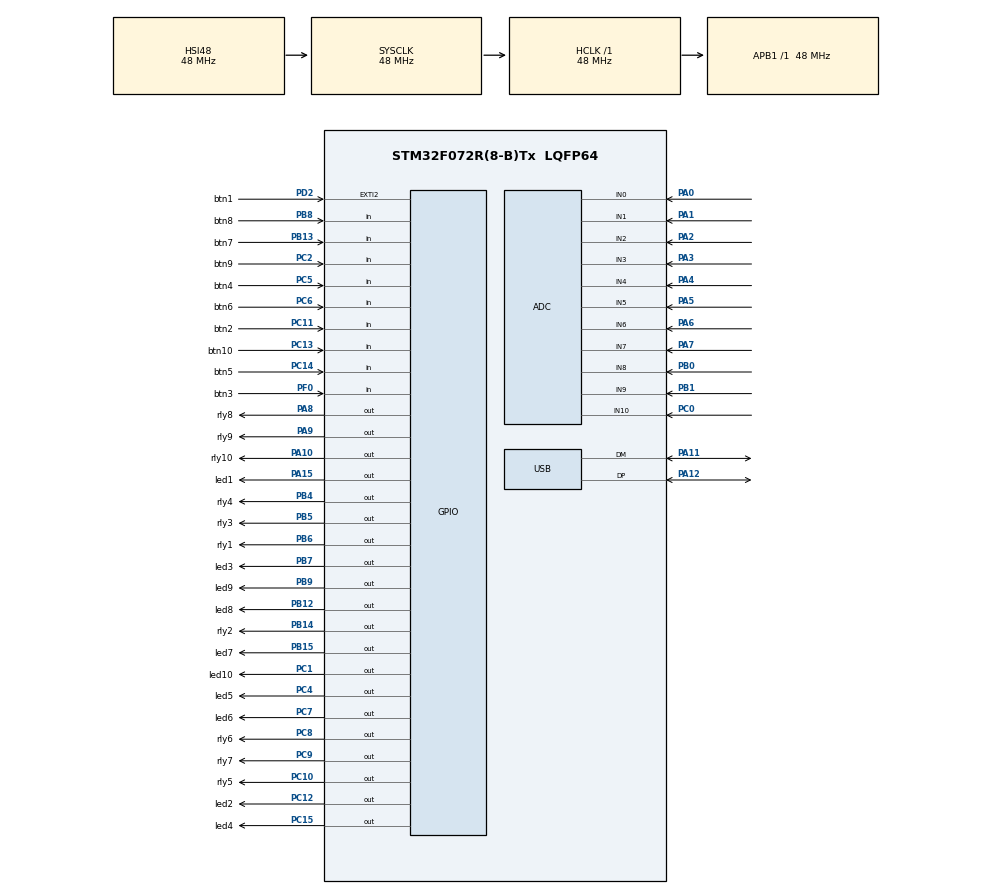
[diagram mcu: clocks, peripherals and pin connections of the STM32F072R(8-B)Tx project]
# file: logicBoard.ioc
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ADC.ExternalTrigConv=ADC_SOFTWARE_START
Dma.ADC.0.Direction=DMA_PERIPH_TO_MEMORY
Dma.ADC.0.Instance=DMA1_Channel1
Dma.ADC.0.MemDataAlignment=DMA_MDATAALIGN_HALFWORD
Dma.ADC.0.MemInc=DMA_MINC_ENABLE
Dma.ADC.0.Mode=DMA_NORMAL
Dma.ADC.0.PeriphDataAlignment=DMA_PDATAALIGN_HALFWORD
Dma.ADC.0.PeriphInc=DMA_PINC_DISABLE
Dma.ADC.0.Priority=DMA_PRIORITY_LOW
Dma.Request0=ADC
Mcu.Family=STM32F0
Mcu.Name=STM32F072R(8-B)Tx
Mcu.Package=LQFP64
NVIC.ADC1_COMP_IRQn=true\:0\:0\:false\:false\:true\:true\:true\:true
NVIC.DMA1_Channel1_IRQn=true\:0\:0\:false\:false\:true\:false\:true\:true
NVIC.EXTI2_3_IRQn=true\:0\:0\:false\:false\:true\:true\:true\:true
NVIC.TIM1_BRK_UP_TRG_COM_IRQn=true\:0\:0\:false\:false\:true\:true\:true\:true
NVIC.TIM2_IRQn=true\:0\:0\:false\:false\:true\:true\:true\:true
NVIC.USB_IRQn=true\:0\:0\:false\:false\:true\:true\:true\:true
PA0.Mode=IN0
PA0.Signal=ADC_IN0
PA1.Mode=IN1
PA1.Signal=ADC_IN1
PA10.GPIO_Label=rly10
PA10.Signal=GPIO_Output
PA11.Mode=Device
PA11.Signal=USB_DM
PA12.Mode=Device
PA12.Signal=USB_DP
PA13.Mode=Serial_Wire
PA13.Signal=SYS_SWDIO
PA14.Mode=Serial_Wire
PA14.Signal=SYS_SWCLK
PA15.GPIO_Label=led1
PA15.PinState=GPIO_PIN_SET
PA15.Signal=GPIO_Output
PA2.Mode=IN2
PA2.Signal=ADC_IN2
PA3.Mode=IN3
PA3.Signal=ADC_IN3
PA4.Mode=IN4
PA4.Signal=ADC_IN4
PA5.Mode=IN5
PA5.Signal=ADC_IN5
PA6.Mode=IN6
PA6.Signal=ADC_IN6
PA7.Mode=IN7
PA7.Signal=ADC_IN7
PA8.GPIO_Label=rly8
PA8.Signal=GPIO_Output
PA9.GPIO_Label=rly9
PA9.Signal=GPIO_Output
PB0.Mode=IN8
PB0.Signal=ADC_IN8
PB1.Mode=IN9
PB1.Signal=ADC_IN9
PB12.GPIO_Label=led8
PB12.PinState=GPIO_PIN_SET
PB12.Signal=GPIO_Output
PB13.GPIO_Label=btn7
PB13.GPIO_PuPd=GPIO_PULLDOWN
PB13.Signal=GPIO_Input
PB14.GPIO_Label=rly2
PB14.PinState=GPIO_PIN_RESET
PB14.Signal=GPIO_Output
PB15.GPIO_Label=led7
PB15.PinState=GPIO_PIN_SET
PB15.Signal=GPIO_Output
PB4.GPIO_Label=rly4
PB4.Signal=GPIO_Output
PB5.GPIO_Label=rly3
PB5.Signal=GPIO_Output
PB6.GPIO_Label=rly1
PB6.Signal=GPIO_Output
PB7.GPIO_Label=led3
PB7.Signal=GPIO_Output
PB8.GPIO_Label=btn8
PB8.GPIO_PuPd=GPIO_PULLDOWN
PB8.Signal=GPIO_Input
PB9.GPIO_Label=led9
PB9.PinState=GPIO_PIN_SET
PB9.Signal=GPIO_Output
PC0.Mode=IN10
PC0.Signal=ADC_IN10
PC1.GPIO_Label=led10
PC1.PinState=GPIO_PIN_SET
PC1.Signal=GPIO_Output
PC10.GPIO_Label=rly5
PC10.Signal=GPIO_Output
PC11.GPIO_Label=btn2
PC11.GPIO_PuPd=GPIO_PULLDOWN
PC11.Signal=GPIO_Input
PC12.GPIO_Label=led2
PC12.Signal=GPIO_Output
PC13.GPIO_Label=btn10
PC13.GPIO_PuPd=GPIO_PULLDOWN
PC13.Signal=GPIO_Input
PC14-OSC32_IN.GPIO_Label=btn5
PC14-OSC32_IN.GPIO_PuPd=GPIO_PULLDOWN
PC14-OSC32_IN.Signal=GPIO_Input
PC15-OSC32_OUT.GPIO_Label=led4
PC15-OSC32_OUT.PinState=GPIO_PIN_SET
PC15-OSC32_OUT.Signal=GPIO_Output
PC2.GPIO_Label=btn9
PC2.GPIO_PuPd=GPIO_PULLDOWN
PC2.Signal=GPIO_Input
PC4.GPIO_Label=led5
PC4.PinState=GPIO_PIN_SET
PC4.Signal=GPIO_Output
PC5.GPIO_Label=btn4
PC5.GPIO_PuPd=GPIO_PULLDOWN
PC5.Signal=GPIO_Input
PC6.GPIO_Label=btn6
PC6.GPIO_PuPd=GPIO_PULLDOWN
PC6.Signal=GPIO_Input
PC7.GPIO_Label=led6
PC7.PinState=GPIO_PIN_SET
PC7.Signal=GPIO_Output
PC8.GPIO_Label=rly6
PC8.Signal=GPIO_Output
PC9.GPIO_Label=rly7
PC9.Signal=GPIO_Output
PD2.GPIO_Label=btn1
PD2.Signal=GPXTI2
PF0-OSC_IN.GPIO_Label=btn3
PF0-OSC_IN.GPIO_PuPd=GPIO_PULLDOWN
PF0-OSC_IN.Signal=GPIO_Input
ProjectManager.HeapSize=0x200
ProjectManager.StackSize=0x400
ProjectManager.TargetToolchain=STM32CubeIDE
RCC.AHBFreq_Value=48000000
RCC.APB1Freq_Value=48000000
RCC.APB1TimFreq_Value=48000000
RCC.HCLKFreq_Value=48000000
RCC.SYSCLKFreq_VALUE=48000000
RCC.SYSCLKSource=RCC_SYSCLKSOURCE_HSI48
TIM1.AutoReloadPreload=TIM_AUTORELOAD_PRELOAD_ENABLE
TIM1.Period=500
TIM1.Prescaler=480
TIM2.AutoReloadPreload=TIM_AUTORELOAD_PRELOAD_ENABLE
TIM2.Period=100
TIM2.Prescaler=48
USB_DEVICE.CLASS_NAME_FS=CDC
USB_DEVICE.PRODUCT_STRING_CDC_FS=Power Bar
USB_DEVICE.VirtualMode=Cdc
USB_DEVICE.VirtualModeFS=Cdc_FS
VP_RCC_USB.Mode=CRS SYNC Source USB
VP_TIM1_VS_ClockSourceINT.Mode=Internal
VP_TIM2_VS_ClockSourceINT.Mode=Internal
VP_USB_DEVICE_VS_USB_DEVICE_CDC_FS.Mode=CDC_FS
board=custom

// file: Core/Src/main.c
/* USER CODE BEGIN Header */
/**
  ******************************************************************************
  * @file           : main.c
  * @brief          : Main program body
  ******************************************************************************
  * @attention
  *
  * Copyright (c) 2023 STMicroelectronics.
  * All rights reserved.
  *
  * This software is licensed under terms that can be found in the LICENSE file
  * in the root directory of this software component.
  * If no LICENSE file comes with this software, it is provided AS-IS.
  *
  ******************************************************************************
  */

/*
This firmware takes control over
10 ch ADCs
1 10mS timer
10 IO

usb cdc interface

This firmware has:
Button input de-bouncing control

*/
/* USER CODE END Header */
#include "main.h"
#include "usb_device.h"

/* USER CODE BEGIN Includes */
#include "usbd_cdc_if.h"
/* USER CODE END Includes */

ADC_HandleTypeDef hadc;
DMA_HandleTypeDef hdma_adc;

TIM_HandleTypeDef htim1;
TIM_HandleTypeDef htim2;

void SystemClock_Config(void);
static void MX_GPIO_Init(void);
static void MX_DMA_Init(void);
static void MX_TIM1_Init(void);
static void MX_ADC_Init(void);
static void MX_TIM2_Init(void);

/* USER CODE BEGIN 0 */

// usb variables
extern FIFO RX_FIFO;
uint8_t incomingMessagesRxBuff[64];
uint8_t outcomingMessagesTxBuff[64];
uint8_t rXbuffPointer;
bool messageReceived;

USBD_StatusTypeDef myUsbStatus = USBD_OK;
bool txBusy = false;

/* USER CODE END 0 */

int main(void)
{

  /* MCU Configuration--------------------------------------------------------*/

  /* Reset of all peripherals, Initializes the Flash interface and the Systick. */
  HAL_Init();

  /* Configure the system clock */
  SystemClock_Config();

  /* Initialize all configured peripherals */
  MX_GPIO_Init();
  MX_DMA_Init();
  MX_TIM1_Init();
  MX_ADC_Init();
  MX_USB_DEVICE_Init();
  MX_TIM2_Init();
  /* USER CODE BEGIN 2 */

  boardInit();

  uint8_t msg[] = "HELLO\r\n";
  CDC_Transmit_FS(msg, sizeof(msg)-1);

  HAL_TIM_Base_Start_IT(&htim1);
  HAL_TIM_Base_Start_IT(&htim2);

  HAL_ADC_Start_DMA(&hadc, (uint32_t *)adcResultsRaw,11);
  /* USER CODE END 2 */

  /* Infinite loop */
  while (1)
  {

    /* USER CODE BEGIN 3 */

	  processIOControl();

	  process5milliSecondTasks();

	  process100microSecondTasks();

	  processRxCircularBufferUnload();

	  processParse();

	  processTxRoutines();

  }
  /* USER CODE END 3 */
}

void SystemClock_Config(void)
{
  RCC_OscInitTypeDef RCC_OscInitStruct = {0};
  RCC_ClkInitTypeDef RCC_ClkInitStruct = {0};
  RCC_PeriphCLKInitTypeDef PeriphClkInit = {0};

  /** Initializes the RCC Oscillators according to the specified parameters
  * in the RCC_OscInitTypeDef structure.
  */
  RCC_OscInitStruct.OscillatorType = RCC_OSCILLATORTYPE_HSI14|RCC_OSCILLATORTYPE_HSI48;
  RCC_OscInitStruct.HSI48State = RCC_HSI48_ON;
  RCC_OscInitStruct.HSI14State = RCC_HSI14_ON;
  RCC_OscInitStruct.HSI14CalibrationValue = 16;
  RCC_OscInitStruct.PLL.PLLState = RCC_PLL_NONE;
  if (HAL_RCC_OscConfig(&RCC_OscInitStruct) != HAL_OK)
  {
    Error_Handler();
  }

  /** Initializes the CPU, AHB and APB buses clocks
  */
  RCC_ClkInitStruct.ClockType = RCC_CLOCKTYPE_HCLK|RCC_CLOCKTYPE_SYSCLK
                              |RCC_CLOCKTYPE_PCLK1;
  RCC_ClkInitStruct.SYSCLKSource = RCC_SYSCLKSOURCE_HSI48;
  RCC_ClkInitStruct.AHBCLKDivider = RCC_SYSCLK_DIV1;
  RCC_ClkInitStruct.APB1CLKDivider = RCC_HCLK_DIV1;

  if (HAL_RCC_ClockConfig(&RCC_ClkInitStruct, FLASH_LATENCY_1) != HAL_OK)
  {
    Error_Handler();
  }
  PeriphClkInit.PeriphClockSelection = RCC_PERIPHCLK_USB;
  PeriphClkInit.UsbClockSelection = RCC_USBCLKSOURCE_HSI48;

  if (HAL_RCCEx_PeriphCLKConfig(&PeriphClkInit) != HAL_OK)
  {
    Error_Handler();
  }
}

static void MX_ADC_Init(void)
{

  ADC_ChannelConfTypeDef sConfig = {0};

  /** Configure the global features of the ADC (Clock, Resolution, Data Alignment and number of conversion)
  */
  hadc.Instance = ADC1;
  hadc.Init.ClockPrescaler = ADC_CLOCK_ASYNC_DIV1;
  hadc.Init.Resolution = ADC_RESOLUTION_12B;
  hadc.Init.DataAlign = ADC_DATAALIGN_RIGHT;
  hadc.Init.ScanConvMode = ADC_SCAN_DIRECTION_FORWARD;
  hadc.Init.EOCSelection = ADC_EOC_SINGLE_CONV;
  hadc.Init.LowPowerAutoWait = DISABLE;

  hadc.Init.LowPowerAutoPowerOff = DISABLE;
  hadc.Init.ContinuousConvMode = DISABLE;
  hadc.Init.DiscontinuousConvMode = DISABLE;
  hadc.Init.ExternalTrigConv = ADC_SOFTWARE_START;
  hadc.Init.ExternalTrigConvEdge = ADC_EXTERNALTRIGCONVEDGE_NONE;
  hadc.Init.DMAContinuousRequests = DISABLE;
  hadc.Init.Overrun = ADC_OVR_DATA_PRESERVED;
  if (HAL_ADC_Init(&hadc) != HAL_OK)
  {
    Error_Handler();
  }

  /** Configure for the selected ADC regular channel to be converted.
  */
  sConfig.Channel = ADC_CHANNEL_0;
  sConfig.Rank = ADC_RANK_CHANNEL_NUMBER;
  sConfig.SamplingTime = ADC_SAMPLETIME_1CYCLE_5;
  if (HAL_ADC_ConfigChannel(&hadc, &sConfig) != HAL_OK)
  {
    Error_Handler();
  }

  /** Configure for the selected ADC regular channel to be converted.
  */
  sConfig.Channel = ADC_CHANNEL_1;
  if (HAL_ADC_ConfigChannel(&hadc, &sConfig) != HAL_OK)
  {
    Error_Handler();
  }

  /** Configure for the selected ADC regular channel to be converted.
  */
  sConfig.Channel = ADC_CHANNEL_2;
  if (HAL_ADC_ConfigChannel(&hadc, &sConfig) != HAL_OK)
  {
    Error_Handler();
  }

  /** Configure for the selected ADC regular channel to be converted.
  */
  sConfig.Channel = ADC_CHANNEL_3;
  if (HAL_ADC_ConfigChannel(&hadc, &sConfig) != HAL_OK)
  {
    Error_Handler();
  }

  /** Configure for the selected ADC regular channel to be converted.
  */
  sConfig.Channel = ADC_CHANNEL_4;
  if (HAL_ADC_ConfigChannel(&hadc, &sConfig) != HAL_OK)
  {
    Error_Handler();
  }

  /** Configure for the selected ADC regular channel to be converted.
  */
  sConfig.Channel = ADC_CHANNEL_5;
  if (HAL_ADC_ConfigChannel(&hadc, &sConfig) != HAL_OK)
  {
    Error_Handler();
  }

  /** Configure for the selected ADC regular channel to be converted.
  */
  sConfig.Channel = ADC_CHANNEL_6;
  if (HAL_ADC_ConfigChannel(&hadc, &sConfig) != HAL_OK)
  {
    Error_Handler();
  }

  /** Configure for the selected ADC regular channel to be converted.
  */
  sConfig.Channel = ADC_CHANNEL_7;
  if (HAL_ADC_ConfigChannel(&hadc, &sConfig) != HAL_OK)
  {
    Error_Handler();
  }

  /** Configure for the selected ADC regular channel to be converted.
  */
  sConfig.Channel = ADC_CHANNEL_8;
  if (HAL_ADC_ConfigChannel(&hadc, &sConfig) != HAL_OK)
  {
    Error_Handler();
  }

  /** Configure for the selected ADC regular channel to be converted.
  */
  sConfig.Channel = ADC_CHANNEL_9;
  if (HAL_ADC_ConfigChannel(&hadc, &sConfig) != HAL_OK)
  {
    Error_Handler();
  }

  /** Configure for the selected ADC regular channel to be converted.
  */
  sConfig.Channel = ADC_CHANNEL_10;
  if (HAL_ADC_ConfigChannel(&hadc, &sConfig) != HAL_OK)
  {
    Error_Handler();
  }

}

static void MX_TIM1_Init(void)
{

  TIM_ClockConfigTypeDef sClockSourceConfig = {0};
  TIM_MasterConfigTypeDef sMasterConfig = {0};

  htim1.Instance = TIM1;
  htim1.Init.Prescaler = 480;
  htim1.Init.CounterMode = TIM_COUNTERMODE_UP;
  htim1.Init.Period = 500;
  htim1.Init.ClockDivision = TIM_CLOCKDIVISION_DIV1;
  htim1.Init.RepetitionCounter = 0;
  htim1.Init.AutoReloadPreload = TIM_AUTORELOAD_PRELOAD_ENABLE;
  if (HAL_TIM_Base_Init(&htim1) != HAL_OK)
  {
    Error_Handler();
  }
  sClockSourceConfig.ClockSource = TIM_CLOCKSOURCE_INTERNAL;
  if (HAL_TIM_ConfigClockSource(&htim1, &sClockSourceConfig) != HAL_OK)
  {
    Error_Handler();
  }
  sMasterConfig.MasterOutputTrigger = TIM_TRGO_RESET;
  sMasterConfig.MasterSlaveMode = TIM_MASTERSLAVEMODE_DISABLE;
  if (HAL_TIMEx_MasterConfigSynchronization(&htim1, &sMasterConfig) != HAL_OK)
  {
    Error_Handler();
  }

}

static void MX_TIM2_Init(void)
{

  TIM_ClockConfigTypeDef sClockSourceConfig = {0};
  TIM_MasterConfigTypeDef sMasterConfig = {0};

  htim2.Instance = TIM2;
  htim2.Init.Prescaler = 48;
  htim2.Init.CounterMode = TIM_COUNTERMODE_UP;
  htim2.Init.Period = 100;
  htim2.Init.ClockDivision = TIM_CLOCKDIVISION_DIV1;
  htim2.Init.AutoReloadPreload = TIM_AUTORELOAD_PRELOAD_ENABLE;
  if (HAL_TIM_Base_Init(&htim2) != HAL_OK)
  {
    Error_Handler();
  }
  sClockSourceConfig.ClockSource = TIM_CLOCKSOURCE_INTERNAL;
  if (HAL_TIM_ConfigClockSource(&htim2, &sClockSourceConfig) != HAL_OK)
  {
    Error_Handler();
  }
  sMasterConfig.MasterOutputTrigger = TIM_TRGO_RESET;
  sMasterConfig.MasterSlaveMode = TIM_MASTERSLAVEMODE_DISABLE;
  if (HAL_TIMEx_MasterConfigSynchronization(&htim2, &sMasterConfig) != HAL_OK)
  {
    Error_Handler();
  }

}

static void MX_DMA_Init(void)
{

  /* DMA controller clock enable */
  __HAL_RCC_DMA1_CLK_ENABLE();

  /* DMA interrupt init */
  /* DMA1_Channel1_IRQn interrupt configuration */
  HAL_NVIC_SetPriority(DMA1_Channel1_IRQn, 0, 0);
  HAL_NVIC_EnableIRQ(DMA1_Channel1_IRQn);

}

static void MX_GPIO_Init(void)
{
  GPIO_InitTypeDef GPIO_InitStruct = {0};

  /* GPIO Ports Clock Enable */
  __HAL_RCC_GPIOC_CLK_ENABLE();
  __HAL_RCC_GPIOF_CLK_ENABLE();
  __HAL_RCC_GPIOA_CLK_ENABLE();
  __HAL_RCC_GPIOB_CLK_ENABLE();
  __HAL_RCC_GPIOD_CLK_ENABLE();

  /*Configure GPIO pin Output Level */
  HAL_GPIO_WritePin(GPIOC, led4_Pin|led10_Pin|led5_Pin|led6_Pin, GPIO_PIN_SET);

  /*Configure GPIO pin Output Level */
  HAL_GPIO_WritePin(GPIOB, led8_Pin|led7_Pin|led9_Pin, GPIO_PIN_SET);

  /*Configure GPIO pin Output Level */
  HAL_GPIO_WritePin(GPIOB, rly2_Pin|rly4_Pin|rly3_Pin|rly1_Pin
                          |led3_Pin, GPIO_PIN_RESET);

  /*Configure GPIO pin Output Level */
  HAL_GPIO_WritePin(GPIOC, rly6_Pin|rly7_Pin|rly5_Pin|led2_Pin, GPIO_PIN_RESET);

  /*Configure GPIO pin Output Level */
  HAL_GPIO_WritePin(GPIOA, rly8_Pin|rly9_Pin|rly10_Pin, GPIO_PIN_RESET);

  /*Configure GPIO pin Output Level */
  HAL_GPIO_WritePin(led1_GPIO_Port, led1_Pin, GPIO_PIN_SET);

  /*Configure GPIO pins : btn10_Pin btn5_Pin btn9_Pin btn4_Pin
                           btn6_Pin btn2_Pin */
  GPIO_InitStruct.Pin = btn10_Pin|btn5_Pin|btn9_Pin|btn4_Pin
                          |btn6_Pin|btn2_Pin;
  GPIO_InitStruct.Mode = GPIO_MODE_INPUT;
  GPIO_InitStruct.Pull = GPIO_PULLDOWN;
  HAL_GPIO_Init(GPIOC, &GPIO_InitStruct);

  /*Configure GPIO pins : led4_Pin led10_Pin led5_Pin led6_Pin
                           rly6_Pin rly7_Pin rly5_Pin led2_Pin */
  GPIO_InitStruct.Pin = led4_Pin|led10_Pin|led5_Pin|led6_Pin
                          |rly6_Pin|rly7_Pin|rly5_Pin|led2_Pin;
  GPIO_InitStruct.Mode = GPIO_MODE_OUTPUT_PP;
  GPIO_InitStruct.Pull = GPIO_NOPULL;
  GPIO_InitStruct.Speed = GPIO_SPEED_FREQ_LOW;
  HAL_GPIO_Init(GPIOC, &GPIO_InitStruct);

  /*Configure GPIO pin : btn3_Pin */
  GPIO_InitStruct.Pin = btn3_Pin;
  GPIO_InitStruct.Mode = GPIO_MODE_INPUT;
  GPIO_InitStruct.Pull = GPIO_PULLDOWN;
  HAL_GPIO_Init(btn3_GPIO_Port, &GPIO_InitStruct);

  /*Configure GPIO pins : led8_Pin rly2_Pin led7_Pin rly4_Pin
                           rly3_Pin rly1_Pin led3_Pin led9_Pin */
  GPIO_InitStruct.Pin = led8_Pin|rly2_Pin|led7_Pin|rly4_Pin
                          |rly3_Pin|rly1_Pin|led3_Pin|led9_Pin;
  GPIO_InitStruct.Mode = GPIO_MODE_OUTPUT_PP;
  GPIO_InitStruct.Pull = GPIO_NOPULL;
  GPIO_InitStruct.Speed = GPIO_SPEED_FREQ_LOW;
  HAL_GPIO_Init(GPIOB, &GPIO_InitStruct);

  /*Configure GPIO pins : btn7_Pin btn8_Pin */
  GPIO_InitStruct.Pin = btn7_Pin|btn8_Pin;
  GPIO_InitStruct.Mode = GPIO_MODE_INPUT;
  GPIO_InitStruct.Pull = GPIO_PULLDOWN;
  HAL_GPIO_Init(GPIOB, &GPIO_InitStruct);

  /*Configure GPIO pins : rly8_Pin rly9_Pin rly10_Pin led1_Pin */
  GPIO_InitStruct.Pin = rly8_Pin|rly9_Pin|rly10_Pin|led1_Pin;
  GPIO_InitStruct.Mode = GPIO_MODE_OUTPUT_PP;
  GPIO_InitStruct.Pull = GPIO_NOPULL;
  GPIO_InitStruct.Speed = GPIO_SPEED_FREQ_LOW;
  HAL_GPIO_Init(GPIOA, &GPIO_InitStruct);

  /*Configure GPIO pin : btn1_Pin */
  GPIO_InitStruct.Pin = btn1_Pin;
  GPIO_InitStruct.Mode = GPIO_MODE_INPUT;
  GPIO_InitStruct.Pull = GPIO_PULLDOWN;
  HAL_GPIO_Init(btn1_GPIO_Port, &GPIO_InitStruct);

}

/* USER CODE BEGIN 4 */

void boardInit(void){

	firmwareRev = 0.1;

	portArray[0].gpioPortButton = btn1_GPIO_Port;
	portArray[0].gpioButton = btn1_Pin;
	portArray[0].gpioPortLed = led1_GPIO_Port;
	portArray[0].gpioLed = led1_Pin;
	portArray[0].gpioPortRelay = rly1_GPIO_Port;
	portArray[0].gpioRelay = rly1_Pin;

	portArray[1].gpioPortButton = btn2_GPIO_Port;
	portArray[1].gpioButton = btn2_Pin;
	portArray[1].gpioPortLed = led2_GPIO_Port;
	portArray[1].gpioLed = led2_Pin;
	portArray[1].gpioPortRelay = rly2_GPIO_Port;
	portArray[1].gpioRelay = rly2_Pin;

	portArray[2].gpioPortButton = btn3_GPIO_Port;
	portArray[2].gpioButton = btn3_Pin;
	portArray[2].gpioPortLed = led3_GPIO_Port;
	portArray[2].gpioLed = led3_Pin;
	portArray[2].gpioPortRelay = rly3_GPIO_Port;
	portArray[2].gpioRelay = rly3_Pin;

	portArray[3].gpioPortButton = btn4_GPIO_Port;
	portArray[3].gpioButton = btn4_Pin;
	portArray[3].gpioPortLed = led4_GPIO_Port;
	portArray[3].gpioLed = led4_Pin;
	portArray[3].gpioPortRelay = rly4_GPIO_Port;
	portArray[3].gpioRelay = rly4_Pin;

	portArray[4].gpioPortButton = btn5_GPIO_Port;
	portArray[4].gpioButton = btn5_Pin;
	portArray[4].gpioPortLed = led5_GPIO_Port;
	portArray[4].gpioLed = led5_Pin;
	portArray[4].gpioPortRelay = rly5_GPIO_Port;
	portArray[4].gpioRelay = rly5_Pin;

	portArray[5].gpioPortButton = btn6_GPIO_Port;
	portArray[5].gpioButton = btn6_Pin;
	portArray[5].gpioPortLed = led6_GPIO_Port;
	portArray[5].gpioLed = led6_Pin;
	portArray[5].gpioPortRelay = rly6_GPIO_Port;
	portArray[5].gpioRelay = rly6_Pin;

	portArray[6].gpioPortButton = btn7_GPIO_Port;
	portArray[6].gpioButton = btn7_Pin;
	portArray[6].gpioPortLed = led7_GPIO_Port;
	portArray[6].gpioLed = led7_Pin;
	portArray[6].gpioPortRelay = rly7_GPIO_Port;
	portArray[6].gpioRelay = rly7_Pin;

	portArray[7].gpioPortButton = btn8_GPIO_Port;
	portArray[7].gpioButton = btn8_Pin;
	portArray[7].gpioPortLed = led8_GPIO_Port;
	portArray[7].gpioLed = led8_Pin;
	portArray[7].gpioPortRelay = rly8_GPIO_Port;
	portArray[7].gpioRelay = rly8_Pin;

	portArray[8].gpioPortButton = btn9_GPIO_Port;
	portArray[8].gpioButton = btn9_Pin;
	portArray[8].gpioPortLed = led9_GPIO_Port;
	portArray[8].gpioLed = led9_Pin;
	portArray[8].gpioPortRelay = rly9_GPIO_Port;
	portArray[8].gpioRelay = rly9_Pin;

	portArray[9].gpioPortButton = btn10_GPIO_Port;
	portArray[9].gpioButton = btn10_Pin;
	portArray[9].gpioPortLed = led10_GPIO_Port;
	portArray[9].gpioLed = led10_Pin;
	portArray[9].gpioPortRelay = rly10_GPIO_Port;
	portArray[9].gpioRelay = rly10_Pin;

	int i;

	// todo; make this variable configurable and to be read of the flash
	boardInitOfStart = false;

	if (boardInitOfStart){

		// todo: here we init the board based on stored in flash settings - post recovery state

	}else {

		for (i=0; i<10; i++){

			portArray[i].btn = GPIO_PIN_RESET;
			portArray[i].led = GPIO_PIN_SET; // LEDs are active low
			portArray[i].rly = GPIO_PIN_RESET;

			HAL_GPIO_WritePin(portArray[i].gpioPortLed, portArray[i].gpioLed, GPIO_PIN_SET);
			portArray[i].adcPortMax = 0;
			portArray[i].adcPortMin = 4095;

		}

	}

	// this is for parser
	plotCounter = 11;

	// TODO: tbc with all the port to initiate

}

void HAL_TIM_PeriodElapsedCallback(TIM_HandleTypeDef *htim)
{
  // Check which version of the timer triggered this callback and toggle LED
  if (htim == &htim1 ){
	  timer1Elapsed = true;
  }

  if (htim == &htim2 ){
	  timer2Elapsed = true;
  }

}

void HAL_ADC_ConvCpltCallback(ADC_HandleTypeDef* hadc) {

	// Conversion Complete & DMA Transfer Complete As Well

	// pa0 is ADC ch0 - isn't connected
	//portArray[0].adcResultsLatched =  adcResultsRaw[0] & 0xFFFF;
/*
	portArray[0].adcResultsLatched =  ( adcResultsRaw[0] >> 16 ) & 0xFFFF ;

	portArray[1].adcResultsLatched =  adcResultsRaw[1] & 0xFFFF;

	portArray[2].adcResultsLatched =  ( adcResultsRaw[1] >> 16 ) & 0xFFFF ;

	portArray[3].adcResultsLatched =  adcResultsRaw[2] & 0xFFFF;

	portArray[4].adcResultsLatched =  ( adcResultsRaw[2] >> 16 ) & 0xFFFF ;

	portArray[5].adcResultsLatched =  adcResultsRaw[3] & 0xFFFF;

	portArray[6].adcResultsLatched =  ( adcResultsRaw[3] >> 16 ) & 0xFFFF ;

	portArray[7].adcResultsLatched =  adcResultsRaw[4] & 0xFFFF;

	portArray[8].adcResultsLatched =  ( adcResultsRaw[4] >> 16 ) & 0xFFFF ;

	portArray[9].adcResultsLatched = adcResultsRaw[5] & 0xFFFF;
*/

	for (int i = 0; i<10; i++) {
		portArray[i].adcResultsLatched = adcResultsRaw[i + 1];
	}
	adcCompletedFlag = true;

}

void processIOControl(void){

	uint8_t i = 0;

	// pulling all button inputs - processing is done in timed function
	for (i=0; i<10; i++){

		portArray[i].btn = HAL_GPIO_ReadPin(portArray[i].gpioPortButton, portArray[i].gpioButton);

	}

	// updating relays with accordance to update requirement
	for (i=0; i<10; i++){

		if (portArray[i].portStatusChangeRequired == true){

			portArray[i].portStatusChangeRequired = false;

			portArray[i].ledFlashSequenceRequired = true; // initiates the LED sequence
			portArray[i].ledSequenceingCounter = 0;

			if (portArray[i].relayStaus == true){

				HAL_GPIO_WritePin(portArray[i].gpioPortRelay, portArray[i].gpioRelay, GPIO_PIN_SET);
				portArray[i].rly = GPIO_PIN_SET;

			} else {

				HAL_GPIO_WritePin(portArray[i].gpioPortRelay, portArray[i].gpioRelay, GPIO_PIN_RESET);
				portArray[i].rly = GPIO_PIN_RESET;

			}

		}

	}

}

void process5milliSecondTasks(void){

	if (timer1Elapsed) {

		// TODO: if any timing issues detected consider braking this loop

		uint8_t i;

		// TASK 1 - button de-bouncing

		// scanning for inputs and updating the statuses (in software objects only)
		for (i=0; i<10; i++){

			if (portArray[i].btn == GPIO_PIN_SET){

				if (portArray[i].buttonPressedCounter++ > buttonPressTimout){

					if (portArray[i].buttonPressed == true)// this step is to avoid continuous relay switching when button is pressed
						continue;

					// updating relays accordingly to the inputs
					if (portArray[i].relayStaus == true){
						portArray[i].relayStaus = false; // turn Off if On
					}else {
						portArray[i].relayStaus = true; // turn On if Off
					}

					portArray[i].buttonPressed = true;
					portArray[i].portStatusChangeRequired = true;

				}

			} else {

				portArray[i].buttonPressedCounter = 0;
				portArray[i].buttonPressed = false;

			}

		}

		// TASK II -  led sequence
		for (i=0; i<10; i++){

			if (portArray[i].ledFlashSequenceRequired == true){

				if (portArray[i].ledSequenceingCounter == 0 ){

					if(portArray[i].relayStaus == false){// just switched to OFF - we need to turn the led off first

						//HAL_GPIO_WritePin(portArray[i].gpioPortLed, portArray[i].gpioLed, GPIO_PIN_RESET);
						HAL_GPIO_WritePin(portArray[i].gpioPortLed, portArray[i].gpioLed, GPIO_PIN_SET);

					}else { // just switched to ON

						HAL_GPIO_WritePin(portArray[i].gpioPortLed, portArray[i].gpioLed, GPIO_PIN_RESET);

						//HAL_GPIO_WritePin(portArray[i].gpioPortLed, portArray[i].gpioLed, GPIO_PIN_SET);

					}

				}else if (portArray[i].ledSequenceingCounter == ledSequnceToCnt1){

					if(portArray[i].relayStaus == false){// just switched to OFF

//						HAL_GPIO_WritePin(portArray[i].gpioPortLed, portArray[i].gpioLed, GPIO_PIN_SET);
						HAL_GPIO_WritePin(portArray[i].gpioPortLed, portArray[i].gpioLed, GPIO_PIN_RESET);
					}else { // just switched to ON
						HAL_GPIO_WritePin(portArray[i].gpioPortLed, portArray[i].gpioLed, GPIO_PIN_SET);

//						HAL_GPIO_WritePin(portArray[i].gpioPortLed, portArray[i].gpioLed, GPIO_PIN_RESET);

					}

				}else if(portArray[i].ledSequenceingCounter == ledSequnceToCnt2){

					if(portArray[i].relayStaus == false){// just switched to OFF

//						HAL_GPIO_WritePin(portArray[i].gpioPortLed, portArray[i].gpioLed, GPIO_PIN_RESET);
						HAL_GPIO_WritePin(portArray[i].gpioPortLed, portArray[i].gpioLed, GPIO_PIN_SET);

					}else { // just switched to ON
						HAL_GPIO_WritePin(portArray[i].gpioPortLed, portArray[i].gpioLed, GPIO_PIN_RESET);
//						HAL_GPIO_WritePin(portArray[i].gpioPortLed, portArray[i].gpioLed, GPIO_PIN_SET);

					}

					// end of sequence!!! reset values, check if something else is needed

					portArray[i].ledFlashSequenceRequired = false;
					portArray[i].ledSequenceingCounter = 0;

				}

				portArray[i].ledSequenceingCounter++;

			}

		}

		// TASK III - plot variables

		// plot structure : port number : current current / max current ; port statu (on or off)

		if (plotCounter<10){
			sprintf(( char *) outcomingMessagesTxBuff, "Port#%3d : %4u / %7f : %2d \n\r", plotCounter+1, portArray[plotCounter].adcResultsLatched,  portArray[plotCounter].portMaxCurrent, portArray[plotCounter].relayStaus);
			plotCounter++;
		}else if (plotCounter == 10){
			plotCounter++;
			sprintf(( char *) outcomingMessagesTxBuff, "ETX\n\r");

		}

// sprintf(( char *) outcomingMessagesTxBuff, "Value of Pi = %f", M_PI);

	}

}

void process100microSecondTasks(void){ //100exp-6

// clock = 48Mhz
// pre scaler =48
// counter = 100

// period is clock / ( pre scaler * counter) = 48000000 / (48 * 100) = 10000 = 10 KHz

	if (timer2Elapsed) {

			timer2Elapsed = false;

			if (adcCompletedFlag == true){

//				sprintf(( char *) outcomingMessagesTxBuff,"ADC timing issues\n\r");
				adcCompletedFlag = false;
				HAL_ADC_Start_DMA(&hadc, (uint32_t *)adcResultsRaw, 11);

			}

			int i;

			// finding current minimal and max current values processing will take place later
			for (i=0; i<10; i++){

				if ( portArray[i].adcResultsLatched > portArray[i].adcPortMax){

					portArray[i].relayStaus = false;
					portArray[i].portStatusChangeRequired = true;

				}

				if ( portArray[i].adcResultsLatched < portArray[i].adcPortMin){

					portArray[i].relayStaus = false;
					portArray[i].portStatusChangeRequired = true;

				}

			}

	}

}

void processRxCircularBufferUnload(void){
	/* non-blocking but may be a heavy function
	 * for better performance consider this function in a high speed timer but check execution times
	 * reads the circular buffer and fetches the commands ending with /r
	 *
	 *
	*/

	if( RX_FIFO.head == RX_FIFO.tail ) 				// when the buffer is empty, head and tail pointing on the same location
	{
		return;
	}

	else if (rXbuffPointer == 64) 					// means the message exceeds the maximum allowed message length
	{
		rXbuffPointer = 0;
		return;
	}

	else 											// there are bytes in the circular buffer
	{

		if (RX_FIFO.data[RX_FIFO.tail] != '\n' && RX_FIFO.data[RX_FIFO.tail] != '\r')
		{
			incomingMessagesRxBuff[rXbuffPointer++] = RX_FIFO.data[RX_FIFO.tail];
		}
		else // here we will get only if there was "Enter" button pushed - End Of Message
		{	// this is a perfect place for a small SM to fetch commands, update buffers and flags based on received messages
			// these are global variables to work with
			incomingMessagesRxBuff[rXbuffPointer++] = '\0'; // NULL terminator will allow us STRING operators on uint_8 buffer
			rXbuffPointer = 0;
			messageReceived = true;

		}

		RX_FIFO.tail = FIFO_INCR(RX_FIFO.tail);

	}
}

void processParse(void){

	/*

	//vocabulary
	 *
	1+ // activate port
	1- // deactivate port
	1 25.35 // set maximum current

	plot+ - start streaming all ports
	plot- - stop streaming
	status - showing all data once

	*/

	if (messageReceived){
		messageReceived = false;

		if(strncmp((const char *) incomingMessagesRxBuff, "reset", 5) == 0){
				NVIC_SystemReset();
		}

		if (strncmp((const char *) incomingMessagesRxBuff, "hello", (int)5) == 0 ) {
			sprintf(( char *) outcomingMessagesTxBuff,"go find your friends\n\r");
		  return;
		}

		if (strncmp((const char *) incomingMessagesRxBuff, "firmware", (int)7) == 0 ) {
			sprintf(( char *) outcomingMessagesTxBuff, "built:V-%f", firmwareRev);
		  return;
		}

	}else { // no action needed if no message arrived
		return;
	}

	if (strncmp((const char *) incomingMessagesRxBuff, "plot+" , 9) ==0 ) {

		return;

	}else if (strncmp((const char *) incomingMessagesRxBuff, "plot-" , 9) == 0 ){

		return;

	}else if (strncmp((const char *) incomingMessagesRxBuff, "stat" , 7) == 0 ){
		// todo: change stat to status
		plotCounter = 0;
		return;

	}else if (strncmp((const char *) incomingMessagesRxBuff, "info" , 4) == 0 ){

		return;

	}else if (strncmp((const char *) incomingMessagesRxBuff, "1+" , 2) == 0 ){

		updatePortStatus(0, true);
		return;

	}else if (strncmp((const char *) incomingMessagesRxBuff, "2+" , 2) == 0 ){

		updatePortStatus(1, true);
		return;

	}else if (strncmp((const char *) incomingMessagesRxBuff, "3+" , 2) == 0 ){

		updatePortStatus(2, true);
		return;

	}else if (strncmp((const char *) incomingMessagesRxBuff, "4+" , 2) == 0 ){

		updatePortStatus(3, true);
		return;

	}else if (strncmp((const char *) incomingMessagesRxBuff, "5+" , 2) == 0 ){

		updatePortStatus(4, true);
		return;

	}else if (strncmp((const char *) incomingMessagesRxBuff, "6+" , 2) == 0 ){

		updatePortStatus(5, true);
		return;

	}else if (strncmp((const char *) incomingMessagesRxBuff, "7+" , 2) == 0 ){

		updatePortStatus(6, true);
		return;

	}else if (strncmp((const char *) incomingMessagesRxBuff, "8+" , 2) == 0 ){

		updatePortStatus(7, true);
		return;

	}else if (strncmp((const char *) incomingMessagesRxBuff, "9+" , 2) == 0 ){

		updatePortStatus(8, true);
		return;

	}else if (strncmp((const char *) incomingMessagesRxBuff, "10+" , 3) == 0 ){

		updatePortStatus(9, true);
		return;

	}else if (strncmp((const char *) incomingMessagesRxBuff, "1-" , 2) == 0 ){

		updatePortStatus(0, false);
		return;

	}else if (strncmp((const char *) incomingMessagesRxBuff, "2-" , 2) == 0 ){

		updatePortStatus(1, false);
		return;

	}else if (strncmp((const char *) incomingMessagesRxBuff, "3-" , 2) == 0 ){

		updatePortStatus(2, false);
		return;

	}else if (strncmp((const char *) incomingMessagesRxBuff, "4-" , 2) == 0 ){

		updatePortStatus(3, false);
		return;

	}else if (strncmp((const char *) incomingMessagesRxBuff, "5-" , 2) == 0 ){

		updatePortStatus(4, false);
		return;

	}else if (strncmp((const char *) incomingMessagesRxBuff, "6-" , 2) == 0 ){

		updatePortStatus(5, false);
		return;

	}else if (strncmp((const char *) incomingMessagesRxBuff, "7-" , 2) == 0 ){

		updatePortStatus(6, false);
		return;

	}else if (strncmp((const char *) incomingMessagesRxBuff, "8-" , 2) == 0 ){

		updatePortStatus(7, false);
		return;

	}else if (strncmp((const char *) incomingMessagesRxBuff, "9-" , 2) == 0 ){

		updatePortStatus(8, false);
		return;

	}else if (strncmp( (const char *) incomingMessagesRxBuff, "10-" , 3) == 0 ){

		updatePortStatus(9, false);
		return;

	}

	// other type of messages processing "1 12.53" - this should set the max current

	char * spaceLocation, * spaceLocation2;

	// fist checking if there are more than one space
	spaceLocation  = strchr ( (const char *) incomingMessagesRxBuff, ' '); // first occurrence
	spaceLocation2 = strrchr( (const char *) incomingMessagesRxBuff, ' '); // last occurrence

	// no spacing or two spacing
	if (spaceLocation == NULL || spaceLocation2 == NULL){
		sprintf(( char *) outcomingMessagesTxBuff,"undefined input\n\r");
		return;
	}

	if (spaceLocation2 != spaceLocation){// means there are too many spaces in the string
		sprintf(( char *) outcomingMessagesTxBuff,"error:too many spaces\n\r");
		return;
	}

	// returns pointer to first area
	char * token1 = strtok(( char*)incomingMessagesRxBuff, " ");

	uint16_t outletAddress = atoi(token1);

	char * token2 = strtok(NULL, " ");

	float incomingCurrentSetting = atof(token2);

	// input data check
	if (outletAddress > 0 && outletAddress < 11) { // 1:10

		// checking the second input - represents current
		if (incomingCurrentSetting >= 0 && incomingCurrentSetting <= 15){

			updatePortMaxCurrent(outletAddress, incomingCurrentSetting);

		}else{

			sprintf(( char *) outcomingMessagesTxBuff,"error:max current is out of range of 0-15[A]\n\r");
			return;

		}

	}else{

		sprintf(( char *) outcomingMessagesTxBuff,"error:outlet address is out of range of 1:10\n\r");
		return;

	}

}

void updatePortStatus(uint8_t portNumber, bool val){
// input is 0:9

	if (portNumber > 9 || portNumber < 0){ //[10 and negative wont go. 0:9
		sprintf(( char *) outcomingMessagesTxBuff,"internal error: out of range \n\r");
		return;
	}

	// this will initiate hardware and software updating sequence
	portArray[portNumber].portStatusChangeRequired = true;
	portArray[portNumber].relayStaus = val;
	sprintf(( char *) outcomingMessagesTxBuff,"updated \n\r");

}

void updatePortMaxCurrent(uint8_t portNumber, float newMaxCurrent){

	if (portNumber > 10 || portNumber < 1){ // 11 and 0 wont go so 10:1 will go
			sprintf(( char *) outcomingMessagesTxBuff,"internal error: out of range \n\r");
			return;
		}

	portArray[portNumber-1].portMaxCurrent = newMaxCurrent;
	portArray[portNumber-1].adcPortMax = (uint16_t) (77.112 * newMaxCurrent + 1950.95);
	portArray[portNumber-1].adcPortMin = (uint16_t) (0);
	sprintf(( char *) outcomingMessagesTxBuff,"updated \n\r");

}

void processTxRoutines(void){
	// there is no USB TX interrupt, we have to use sending function using dummy pulling method

	if (outcomingMessagesTxBuff[0] != '\0') { //  verification.. mainly if null means transition is complete and usb TX can send another message

		txBusy = true;

		myUsbStatus = CDC_Transmit_FS( (uint8_t *) outcomingMessagesTxBuff, strlen( (const char*) outcomingMessagesTxBuff));

		if (myUsbStatus == USBD_OK){ // if status is not OK, the buffer will remain with its data and the system will try sending it again at the next iteration.
			memset(outcomingMessagesTxBuff, '\0', 64);
			txBusy = false;
		}else{
			// todo: should not be here
		}

	}

}

/* USER CODE END 4 */

void Error_Handler(void)
{
  __disable_irq();
  while (1)
  {
  }
}
